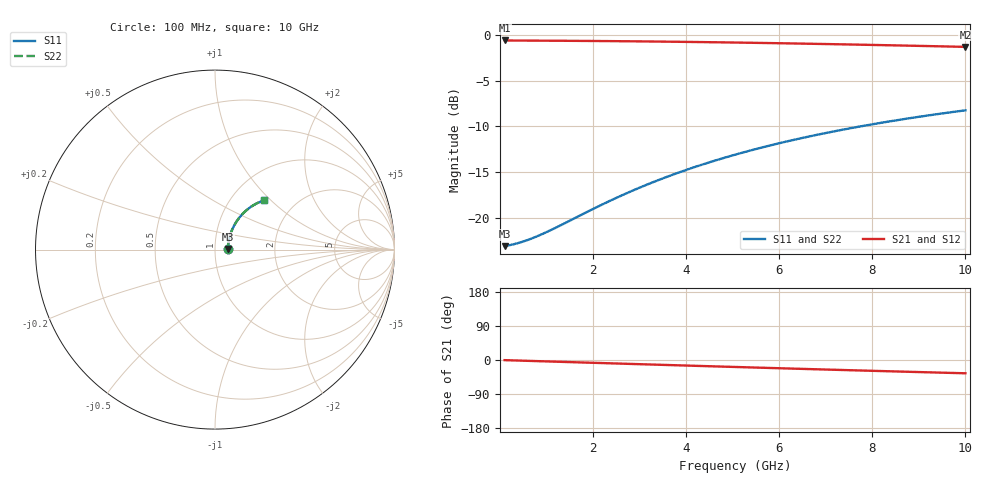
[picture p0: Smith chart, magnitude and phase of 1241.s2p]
# Hz S RI R 50.00
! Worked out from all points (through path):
!   100 points, 100 MHz to 10 GHz, reference 50 ohm
!   highest |S21| = -0.63 dB at 100 MHz (marker M1); lowest = -1.3 dB at 10 GHz (marker M2)
!   group delay of S21, straight-line fit = 9.77 ps
!   lowest |S11| = -23.1 dB at 100 MHz (marker M3), VSWR 1.15, Z = 57.5 + j0.445 ohm
!   |S11| at or under -10 dB: start of sweep to 7.752 GHz
!   |S22| runs from -23.1 to -8.3 dB; largest |S21 - S12| = 0
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1e8  0.0701 0.00385  0.9299 -0.00601  0.9299 -0.00601  0.0701 0.00385
3e8  0.0711 0.0115  0.9289 -0.018  0.9289 -0.018  0.0711 0.0115
4e8  0.0715 0.0153  0.9285 -0.024  0.9285 -0.024  0.0715 0.0153
6e8  0.0724 0.023  0.9275 -0.036  0.9275 -0.036  0.0724 0.023
8e8  0.0734 0.0306  0.9264 -0.0479  0.9264 -0.0479  0.0734 0.0306
1.2e9  0.0759 0.0457  0.9237 -0.0717  0.9237 -0.0717  0.0759 0.0457
1.8e9  0.0809 0.068  0.9183 -0.107  0.9183 -0.107  0.0809 0.068
2.2e9  0.0851 0.0826  0.9137 -0.1302  0.9137 -0.1302  0.0851 0.0826
2.6e9  0.09 0.0969  0.9083 -0.1532  0.9083 -0.1532  0.09 0.0969
3e9  0.0956 0.1109  0.9022 -0.1759  0.9022 -0.1759  0.0956 0.1109
3.4e9  0.1019 0.1245  0.8953 -0.1982  0.8953 -0.1982  0.1019 0.1245
3.8e9  0.1087 0.1378  0.8877 -0.2202  0.8877 -0.2202  0.1087 0.1378
4.2e9  0.1163 0.1506  0.8794 -0.2417  0.8794 -0.2417  0.1163 0.1506
4.6e9  0.1244 0.1629  0.8704 -0.2627  0.8704 -0.2627  0.1244 0.1629
5.1e9  0.1352 0.1776  0.8583 -0.2883  0.8583 -0.2883  0.1352 0.1776
5.5e9  0.1445 0.1888  0.848 -0.3083  0.848 -0.3083  0.1445 0.1888
5.9e9  0.1543 0.1995  0.8371 -0.3276  0.8371 -0.3276  0.1543 0.1995
6.7e9  0.1751 0.2191  0.8138 -0.3647  0.8138 -0.3647  0.1751 0.2191
7.5e9  0.1973 0.2363  0.7888 -0.3995  0.7888 -0.3995  0.1973 0.2363
8.4e9  0.2236 0.2527  0.7588 -0.4357  0.7588 -0.4357  0.2236 0.2527
9.2e9  0.2479 0.2647  0.731 -0.4654  0.731 -0.4654  0.2479 0.2647
1e10  0.2727 0.2742  0.7023 -0.4927  0.7023 -0.4927  0.2727 0.2742
